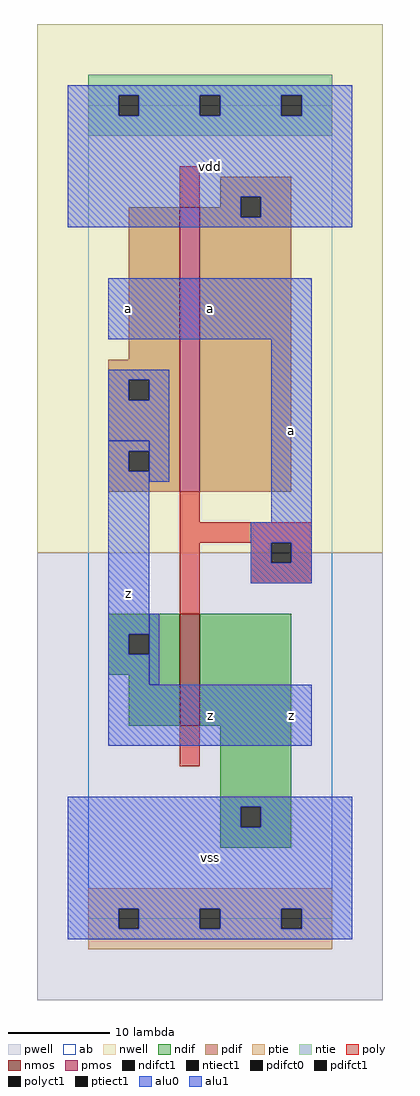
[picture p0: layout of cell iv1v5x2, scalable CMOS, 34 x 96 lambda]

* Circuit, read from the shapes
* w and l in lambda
.subckt iv1v5x2 a vdd vss z
M1 vss a z vss nfet w=11 l=2
M2 vdd a z vdd pfet w=28 l=2
.ends

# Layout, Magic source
magic
tech scmos
<< ab >>
rect 0 0 24 80
<< nwell >>
rect -5 36 29 88
<< pwell >>
rect -5 -8 29 36
<< poly >>
rect 9 70 11 74
rect 9 39 11 42
rect 9 37 22 39
rect 9 30 11 37
rect 16 35 18 37
rect 20 35 22 37
rect 16 33 22 35
rect 9 15 11 19
<< ndif >>
rect 2 28 9 30
rect 2 26 4 28
rect 6 26 9 28
rect 2 24 9 26
rect 4 19 9 24
rect 11 19 20 30
rect 13 11 20 19
rect 13 9 15 11
rect 17 9 20 11
rect 13 7 20 9
<< pdif >>
rect 13 71 20 73
rect 13 70 15 71
rect 4 55 9 70
rect 2 53 9 55
rect 2 51 4 53
rect 6 51 9 53
rect 2 46 9 51
rect 2 44 4 46
rect 6 44 9 46
rect 2 42 9 44
rect 11 69 15 70
rect 17 69 20 71
rect 11 42 20 69
<< alu1 >>
rect -2 81 26 82
rect -2 79 3 81
rect 5 79 11 81
rect 13 79 19 81
rect 21 79 26 81
rect -2 71 26 79
rect -2 69 15 71
rect 17 69 26 71
rect -2 68 26 69
rect 2 57 22 63
rect 2 46 6 47
rect 2 44 4 46
rect 2 28 6 44
rect 18 39 22 57
rect 16 37 22 39
rect 16 35 18 37
rect 20 35 22 37
rect 16 33 22 35
rect 2 26 4 28
rect 2 23 6 26
rect 2 17 22 23
rect -2 11 26 12
rect -2 9 15 11
rect 17 9 26 11
rect -2 1 26 9
rect -2 -1 3 1
rect 5 -1 11 1
rect 13 -1 19 1
rect 21 -1 26 1
rect -2 -2 26 -1
<< ptie >>
rect 0 1 24 3
rect 0 -1 3 1
rect 5 -1 11 1
rect 13 -1 19 1
rect 21 -1 24 1
rect 0 -3 24 -1
<< ntie >>
rect 0 81 24 83
rect 0 79 3 81
rect 5 79 11 81
rect 13 79 19 81
rect 21 79 24 81
rect 0 77 24 79
<< nmos >>
rect 9 19 11 30
<< pmos >>
rect 9 42 11 70
<< polyct1 >>
rect 18 35 20 37
<< ndifct1 >>
rect 4 26 6 28
rect 15 9 17 11
<< ntiect1 >>
rect 3 79 5 81
rect 11 79 13 81
rect 19 79 21 81
<< ptiect1 >>
rect 3 -1 5 1
rect 11 -1 13 1
rect 19 -1 21 1
<< pdifct0 >>
rect 4 51 6 53
<< pdifct1 >>
rect 4 44 6 46
rect 15 69 17 71
<< alu0 >>
rect 2 53 8 54
rect 2 51 4 53
rect 6 51 8 53
rect 2 47 8 51
rect 6 43 8 47
rect 6 23 7 30
<< labels >>
rlabel alu1 4 32 4 32 6 z
rlabel alu1 4 60 4 60 6 a
rlabel alu1 12 6 12 6 6 vss
rlabel alu1 12 20 12 20 6 z
rlabel alu1 12 60 12 60 6 a
rlabel alu1 12 74 12 74 6 vdd
rlabel alu1 20 20 20 20 6 z
rlabel alu1 20 48 20 48 6 a
<< end >>
